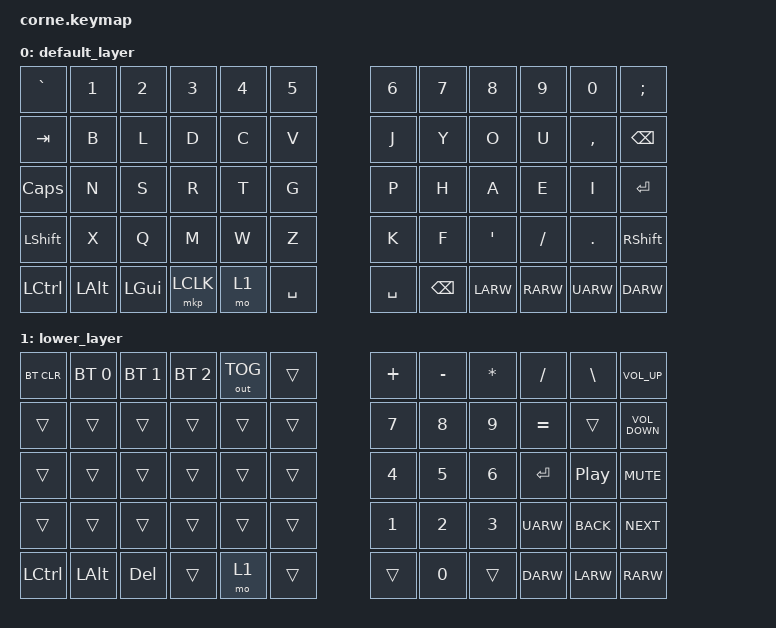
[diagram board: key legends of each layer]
/*
 * Copyright (c) 2020 The ZMK Contributors
 *
 * SPDX-License-Identifier: MIT
 */

#include <behaviors.dtsi>
#include <dt-bindings/zmk/keys.h>
#include <dt-bindings/zmk/bt.h>

/ {
        keymap {
                compatible = "zmk,keymap";

                default_layer {
// ---------------------------------------------------------------------------------
// |  ESC |  1  |  2  |  3  |  4  |  5  |     |  6  |  7  |  8  |  9  |  0  | SEMI |
// |  TAB |  B  |  L  |  D  |  C  |  V  |     |  J  |  Y  |  O  |  U  |  ,  | BKSP |
// | CAPS |  N  |  S  |  R  |  T  |  G  |     |  P  |  H  |  A  |  E  |  I  |  ENT |
// | SHFT |  X  |  Q  |  M  |  W  |  Z  |     |  K  |  F  |  '  |  /  |  .  | SHFT |
// | CTRL | ALT | GUI |LCLK | LOW | SPC |     | SPC | BKP |LARW |RARW |UARW | DARW |
                        bindings = <
   &kp GRAVE  &kp N1    &kp N2    &kp N3     &kp N4     &kp N5               &kp N6     &kp N7   &kp N8     &kp N9    &kp N0    &kp SEMI
   &kp TAB    &kp B     &kp L     &kp D      &kp C      &kp V                &kp J      &kp Y    &kp O      &kp U     &kp COMMA &kp BSPC
   &kp CAPS   &kp N     &kp S     &kp R      &kp T      &kp G                &kp P      &kp H    &kp A      &kp E     &kp I     &kp RET
   &kp LSHFT  &kp X     &kp Q     &kp M      &kp W      &kp Z                &kp K      &kp F    &kp APOS   &kp FSLH  &kp DOT   &kp RSHFT
   &kp LCTRL  &kp LALT  &kp LGUI  &mkp LCLK  &mo 1      &kp SPACE            &kp SPACE  &kp BSPC &kp LARW   &kp RARW  &kp UARW  &kp DARW
                        >;
                };
                lower_layer {
// ------------------------------------------------------------------------------------------------------------
// | BTCLR |  BT1  |  BT2  |  BT3  | USB/BT|       |          |   +   |   -   |   *   |   /   |   \   | VOLUP |
// |       |       |       |       |       |       |          |   7   |   8   |   9   |   =   |       | VOLDW |
// |       |       |       |       |       |       |          |   4   |   5   |   6   | ENTR  | PL/PA | MUTE  |
// |       |       |       |       |       |       |          |   1   |   2   |   3   |  UARW |  BACK | NEXT  |
// | CTRL  |  ALT  |  DEL  |       |       |       |          |       |   0   |       | DARW  |  LARW |  RARW |
                        bindings = <
   &bt BT_CLR &bt BT_SEL 0   &bt BT_SEL 1   &bt BT_SEL 2   &out OUT_TOG   &trans                 &kp PLUS  &kp MINUS &kp STAR &kp FSLH    &kp BSLH            &kp C_VOLUME_UP  
   &trans     &trans         &trans         &trans         &trans         &trans                 &kp N7    &kp N8    &kp N9   &kp EQUAL   &trans              &kp C_VOLUME_DOWN
   &trans     &trans         &trans         &trans         &trans         &trans                 &kp N4    &kp N5    &kp N6   &kp RET     &kp C_PLAY_PAUSE    &kp K_MUTE
   &trans     &trans         &trans         &trans         &trans         &trans                 &kp N1    &kp N2    &kp N3   &kp UARW    &kp K_BACK          &kp K_NEXT
   &kp LCTRL  &kp LALT       &kp DEL        &trans         &mo 1          &trans                 &trans    &kp N0    &trans   &kp DARW    &kp LARW            &kp RARW
                        >;
                };

         };
};
